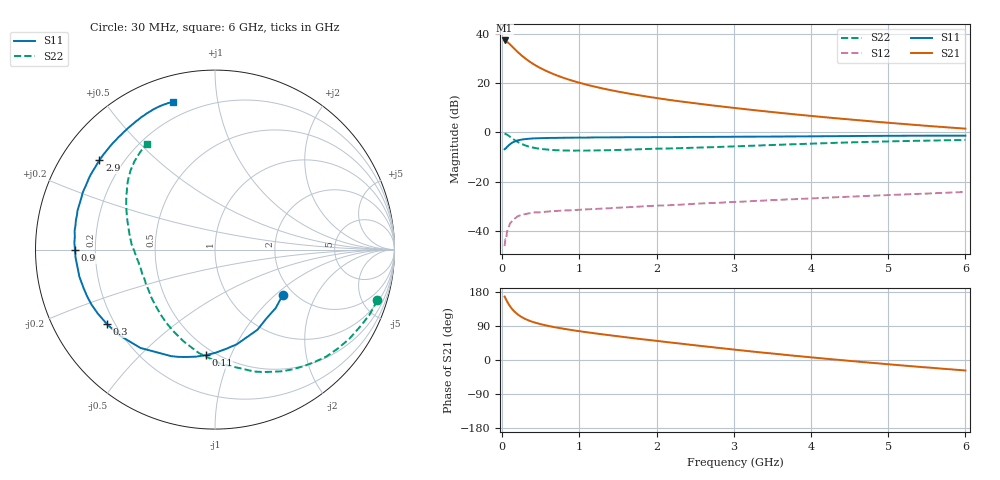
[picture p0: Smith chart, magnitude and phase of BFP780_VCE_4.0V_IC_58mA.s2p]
! Infineon Technologies  Discrete & RF Semiconductors
! BFP780
! VCE =  4.0 V,  IC =  58 mA
! Common Emitter S-Parameters:  Jul 2015
# GHz  S  MA  R  50
!  f  S11  S21  S12  S22
! GHz  MAG  ANG  MAG  ANG  MAG  ANG  MAG  ANG
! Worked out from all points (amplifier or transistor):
!   75 points, 30 MHz to 6 GHz, reference 50 ohm
!   highest |S21| = 37.3 dB at 30 MHz (marker M1)
!   |S21| within 3 dB of that: start of sweep to 144.5 MHz
!   unconditionally stable (mu >= 1): 1.871 GHz to end of sweep
!   at 150 MHz: K = 0.14, MSG = 34.7 dB, |S12| = -35.3 dB
!   at 2.3 GHz: K = 1.11, MAG = 19.0 dB, |S12| = -29.4 dB
!   at 6 GHz: K = 1.23, MAG = 9.9 dB, |S12| = -24.2 dB
!   S11 on the Smith chart (normalised r, x): 30 MHz: 1.75, -1.12; 110 MHz: 0.45, -0.81; 300 MHz: 0.17, -0.30; 900 MHz: 0.12, -0.00; 2.9 GHz: 0.11, +0.34; 6 GHz: 0.12, +0.75
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0.03  0.4549 -34.1  73.36 167.4  0.0049 71.4  0.9479 -17.3
0.05  0.4789 -53.3  70.62 159.0  0.0067 74.1  0.9138 -28.4
0.07  0.5192 -69.9  67.06 151.7  0.0105 59.3  0.8785 -38.9
0.09  0.5566 -83.7  62.97 145.0  0.0128 56.4  0.836 -48.6
0.11  0.5904 -95.1  58.78 139.0  0.0147 54.6  0.7927 -57.5
0.15  0.642 -112.4  50.94 129.4  0.0172 43.6  0.7141 -72.1
0.2  0.6872 -127.1  42.73 120.3  0.0198 37.3  0.6372 -87.1
0.25  0.7134 -137.5  36.42 113.4  0.0212 34.3  0.5826 -99.0
0.3  0.731 -145.3  31.44 108.1  0.022 30.0  0.5407 -108.8
0.35  0.7437 -151.3  27.56 103.7  0.0228 27.4  0.5108 -116.9
0.4  0.7533 -156.0  24.49 100.2  0.0238 26.7  0.4903 -123.5
0.5  0.7625 -163.3  19.95 94.4  0.0239 23.3  0.4608 -134.1
0.7  0.7727 -173.1  14.44 85.7  0.0254 22.2  0.4337 -148.6
0.9  0.7802 -179.9  11.27 79.0  0.0262 21.8  0.4252 -158.2
1.1  0.7845 174.7  9.212 73.1  0.0274 22.5  0.4265 -165.2
1.5  0.7924 166.1  6.724 62.6  0.0296 23.4  0.4392 -174.9
2.1  0.8029 155.3  4.713 48.1  0.0329 24.2  0.4685 174.9
2.9  0.8135 142.3  3.272 29.8  0.038 24.9  0.5125 162.1
3.1  0.8168 139.3  3.015 25.4  0.0392 24.9  0.5261 159.0
4.1  0.8328 125.3  2.085 5.1  0.0464 23.2  0.5967 145.3
5.1  0.853 114.0  1.523 -13.0  0.0542 19.1  0.6604 133.4
6  0.857 105.8  1.189 -27.7  0.0618 14.1  0.7021 122.8
